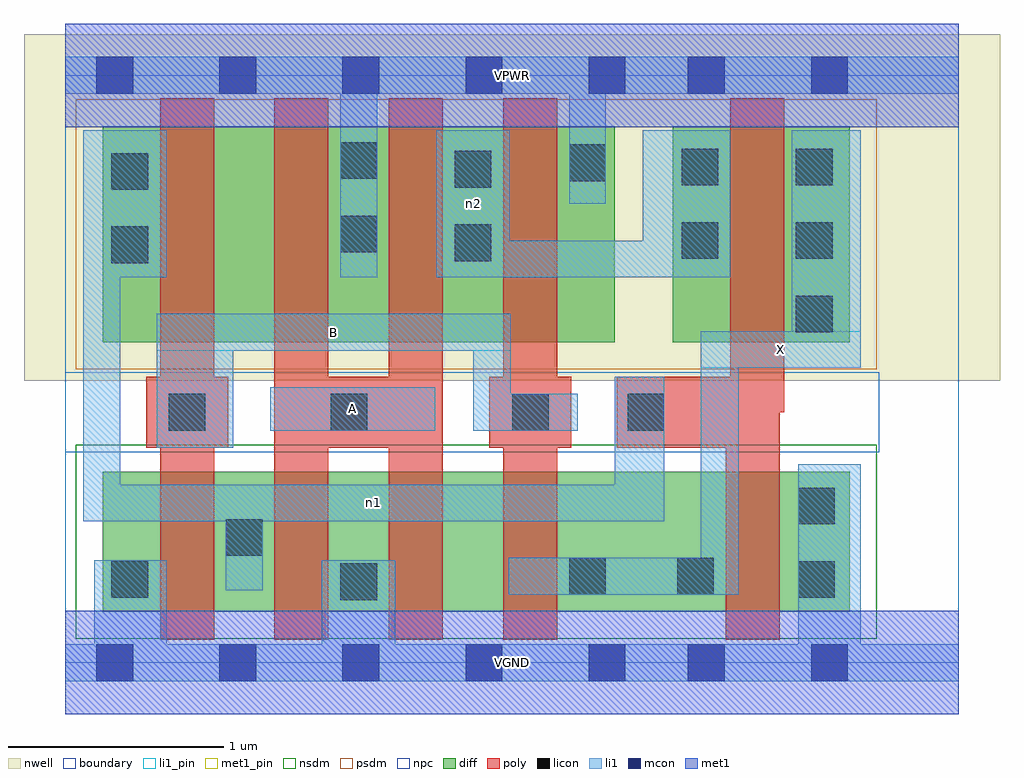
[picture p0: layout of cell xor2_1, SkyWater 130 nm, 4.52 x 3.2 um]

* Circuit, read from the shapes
.subckt xor2_1 A B VGND VPWR X n1 n2
XM1 n1 B VGND VSUBS sky130_fd_pr__nfet_01v8 w=0.65 l=0.25
XM2 VGND A n1 VSUBS sky130_fd_pr__nfet_01v8 w=0.65 l=0.25
XM3 n3 A VGND VSUBS sky130_fd_pr__nfet_01v8 w=0.65 l=0.25
XM4 X B n3 VSUBS sky130_fd_pr__nfet_01v8 w=0.65 l=0.25
XM5 VGND n1 X VSUBS sky130_fd_pr__nfet_01v8 w=0.65 l=0.25
XM6 n4 B n1 n5 sky130_fd_pr__pfet_01v8 w=1 l=0.25
XM7 VPWR A n4 n5 sky130_fd_pr__pfet_01v8 w=1 l=0.25
XM8 n2 A VPWR n5 sky130_fd_pr__pfet_01v8 w=1 l=0.25
XM9 VPWR B n2 n5 sky130_fd_pr__pfet_01v8 w=1 l=0.25
XM10 X n1 n2 n5 sky130_fd_pr__pfet_01v8 w=1 l=0.25
.ends

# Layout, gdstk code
import gdstk
lib = gdstk.Library(unit=1e-6, precision=1e-09)
def R(c, l, rs):  # rectangles x0, y0, x1, y1
    for r in rs: c.add(gdstk.rectangle(r[:2], r[2:], *l))
def A(c, l, x, y, w, h, nx, ny, dx, dy):  # array of equal rectangles
    R(c, l, [(x+i*dx, y+j*dy, x+i*dx+w, y+j*dy+h) for i in range(nx) for j in range(ny)])
nwell = (64, 20)
diff = (65, 20)
poly = (66, 20)
licon = (66, 44)
li1_pin = (67, 16)
li1 = (67, 20)
mcon = (67, 44)
met1_pin = (68, 16)
met1 = (68, 20)
nsdm = (93, 44)
psdm = (94, 20)
npc = (95, 20)
boundary = (235, 4)

xor2_1 = lib.new_cell('xor2_1')
R(xor2_1, nwell, [(-0.19,1.305,4.33,2.91), (0,1.305,4.14,2.91)])
R(xor2_1, diff, [(0.175,0.235,3.635,0.885), (0.175,1.485,2.545,2.485), (2.815,1.485,3.635,2.485)])
A(xor2_1, poly, 0.44, 0.105, 0.25, 2.51, 4, 1, 0.53, 0)
R(xor2_1, poly, [(3.06,0.105,3.31,1.325), (0.375,0.995,0.755,1.325), (0.97,0.995,1.75,1.325), (1.965,0.995,2.345,1.325), (2.555,0.995,3.31,1.325), (3.08,1.16,3.33,2.615)])
A(xor2_1, licon, 3.385, 1.53, 0.17, 0.17, 1, 3, 0, 0.34)
R(xor2_1, licon, [(1.275,0.29,1.445,0.46), (0.215,0.3,0.385,0.47), (3.395,0.3,3.565,0.47), (2.335,0.315,2.505,0.485), (2.835,0.315,3.005,0.485), (0.745,0.495,0.915,0.665), (3.395,0.64,3.565,0.81), (0.48,1.075,0.65,1.245), (1.23,1.075,1.4,1.245), (2.07,1.075,2.24,1.245), (2.605,1.075,2.775,1.245), (0.215,1.85,0.385,2.02), (1.805,1.86,1.975,2.03), (2.855,1.87,3.025,2.04), (1.275,1.9,1.445,2.07), (0.215,2.19,0.385,2.36), (1.805,2.2,1.975,2.37), (2.855,2.21,3.025,2.38), (2.335,2.23,2.505,2.4), (1.275,2.24,1.445,2.41)])
R(xor2_1, li1_pin, [(0.95,1.075,1.715,1.275), (2.945,1.365,3.685,1.535), (0.425,1.445,2.065,1.615)])
R(xor2_1, li1, [(0,-0.085,4.14,0.085), (0.135,-0.085,0.47,0.475), (1.19,-0.085,1.53,0.475), (3.395,-0.085,3.685,0.92), (2.055,0.315,3.12,0.485), (2.945,0.315,3.12,1.535), (0.745,0.335,0.915,0.825), (0.085,0.655,2.775,0.825), (0.085,0.655,0.255,2.465), (2.545,0.655,2.775,1.325), (0.425,0.995,0.78,1.615), (0.95,1.075,1.715,1.275), (1.89,1.075,2.375,1.245), (1.89,1.075,2.065,1.615), (2.945,1.365,3.685,1.535), (3.365,1.365,3.685,2.465), (0.425,1.445,2.065,1.615), (0.085,1.785,0.47,2.465), (1.275,1.785,1.445,2.805), (1.72,1.785,2.06,2.465), (1.72,1.785,3.08,1.955), (2.675,1.785,3.08,2.465), (2.335,2.125,2.505,2.805), (0,2.635,4.14,2.805)])
A(xor2_1, mcon, 0.145, -0.085, 0.17, 0.17, 5, 2, 0.57, 2.72)
R(xor2_1, mcon, [(2.885,-0.085,3.055,0.085), (3.455,-0.085,3.625,0.085), (2.885,2.635,3.055,2.805), (3.455,2.635,3.625,2.805)])
R(xor2_1, met1_pin, [(0,-0.24,4.14,0.24), (0,2.48,4.14,2.96)])
R(xor2_1, met1, [(0,-0.24,4.14,0.24), (0,2.48,4.14,2.96)])
R(xor2_1, nsdm, [(0.05,0.11,3.76,1.01)])
R(xor2_1, psdm, [(0.05,1.36,3.76,2.61)])
R(xor2_1, npc, [(0,0.975,3.77,1.345)])
R(xor2_1, boundary, [(0,0,4.14,2.72)])
xor2_1.add(gdstk.Label('A', (1.332,1.175), layer=67, texttype=5))
xor2_1.add(gdstk.Label('B', (1.245,1.53), layer=67, texttype=5))
xor2_1.add(gdstk.Label('X', (3.315,1.45), layer=67, texttype=5))
xor2_1.add(gdstk.Label('n1', (1.43,0.74), layer=67, texttype=5))
xor2_1.add(gdstk.Label('n2', (1.89,2.125), layer=67, texttype=5))
xor2_1.add(gdstk.Label('VPWR', (2.07,2.72), layer=68, texttype=5))
xor2_1.add(gdstk.Label('VGND', (2.07,0), layer=68, texttype=5))
xor2_1.add(gdstk.Label('A', (1.332,1.175), layer=67, texttype=16))
xor2_1.add(gdstk.Label('B', (1.245,1.53), layer=67, texttype=16))
xor2_1.add(gdstk.Label('X', (3.315,1.45), layer=67, texttype=16))
xor2_1.add(gdstk.Label('VPWR', (2.07,2.72), layer=68, texttype=16))
xor2_1.add(gdstk.Label('VGND', (2.07,0), layer=68, texttype=16))

lib.write_gds('xor2_1.gds')
